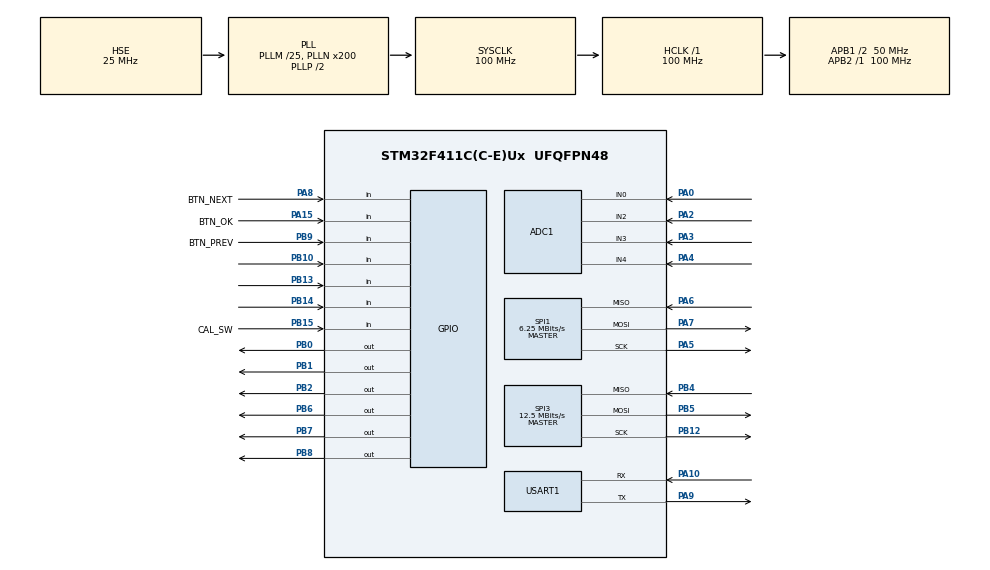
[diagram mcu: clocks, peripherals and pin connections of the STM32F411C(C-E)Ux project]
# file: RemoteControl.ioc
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ADC1.Channel-10\#ChannelRegularConversion=ADC_CHANNEL_2
ADC1.Channel-11\#ChannelRegularConversion=ADC_CHANNEL_3
ADC1.Channel-12\#ChannelRegularConversion=ADC_CHANNEL_4
ADC1.Channel-9\#ChannelRegularConversion=ADC_CHANNEL_0
ADC1.ContinuousConvMode=ENABLE
ADC1.DMAContinuousRequests=ENABLE
ADC1.NbrOfConversion=4
ADC1.NbrOfConversionFlag=1
ADC1.Rank-10\#ChannelRegularConversion=2
ADC1.Rank-11\#ChannelRegularConversion=3
ADC1.Rank-12\#ChannelRegularConversion=4
ADC1.Rank-9\#ChannelRegularConversion=1
ADC1.SamplingTime-10\#ChannelRegularConversion=ADC_SAMPLETIME_144CYCLES
ADC1.SamplingTime-11\#ChannelRegularConversion=ADC_SAMPLETIME_144CYCLES
ADC1.SamplingTime-12\#ChannelRegularConversion=ADC_SAMPLETIME_144CYCLES
ADC1.SamplingTime-9\#ChannelRegularConversion=ADC_SAMPLETIME_144CYCLES
ADC1.ScanConvMode=ENABLE
ADC1.master=1
Dma.ADC1.0.Direction=DMA_PERIPH_TO_MEMORY
Dma.ADC1.0.FIFOMode=DMA_FIFOMODE_DISABLE
Dma.ADC1.0.Instance=DMA2_Stream0
Dma.ADC1.0.MemDataAlignment=DMA_MDATAALIGN_HALFWORD
Dma.ADC1.0.MemInc=DMA_MINC_ENABLE
Dma.ADC1.0.Mode=DMA_CIRCULAR
Dma.ADC1.0.PeriphDataAlignment=DMA_PDATAALIGN_HALFWORD
Dma.ADC1.0.PeriphInc=DMA_PINC_DISABLE
Dma.ADC1.0.Priority=DMA_PRIORITY_LOW
Dma.Request0=ADC1
Dma.Request1=SPI1_RX
Dma.Request2=SPI1_TX
Dma.Request3=USART1_TX
Dma.Request4=USART1_RX
Dma.Request5=SPI3_RX
Dma.Request6=SPI3_TX
Dma.SPI1_RX.1.Direction=DMA_PERIPH_TO_MEMORY
Dma.SPI1_RX.1.FIFOMode=DMA_FIFOMODE_DISABLE
Dma.SPI1_RX.1.Instance=DMA2_Stream2
Dma.SPI1_RX.1.MemDataAlignment=DMA_MDATAALIGN_BYTE
Dma.SPI1_RX.1.MemInc=DMA_MINC_ENABLE
Dma.SPI1_RX.1.Mode=DMA_NORMAL
Dma.SPI1_RX.1.PeriphDataAlignment=DMA_PDATAALIGN_BYTE
Dma.SPI1_RX.1.PeriphInc=DMA_PINC_DISABLE
Dma.SPI1_RX.1.Priority=DMA_PRIORITY_LOW
Dma.SPI1_TX.2.Direction=DMA_MEMORY_TO_PERIPH
Dma.SPI1_TX.2.FIFOMode=DMA_FIFOMODE_DISABLE
Dma.SPI1_TX.2.Instance=DMA2_Stream3
Dma.SPI1_TX.2.MemDataAlignment=DMA_MDATAALIGN_BYTE
Dma.SPI1_TX.2.MemInc=DMA_MINC_ENABLE
Dma.SPI1_TX.2.Mode=DMA_NORMAL
Dma.SPI1_TX.2.PeriphDataAlignment=DMA_PDATAALIGN_BYTE
Dma.SPI1_TX.2.PeriphInc=DMA_PINC_DISABLE
Dma.SPI1_TX.2.Priority=DMA_PRIORITY_LOW
Dma.SPI3_RX.5.Direction=DMA_PERIPH_TO_MEMORY
Dma.SPI3_RX.5.FIFOMode=DMA_FIFOMODE_DISABLE
Dma.SPI3_RX.5.Instance=DMA1_Stream0
Dma.SPI3_RX.5.MemDataAlignment=DMA_MDATAALIGN_BYTE
Dma.SPI3_RX.5.MemInc=DMA_MINC_ENABLE
Dma.SPI3_RX.5.Mode=DMA_NORMAL
Dma.SPI3_RX.5.PeriphDataAlignment=DMA_PDATAALIGN_BYTE
Dma.SPI3_RX.5.PeriphInc=DMA_PINC_DISABLE
Dma.SPI3_RX.5.Priority=DMA_PRIORITY_LOW
Dma.SPI3_TX.6.Direction=DMA_MEMORY_TO_PERIPH
Dma.SPI3_TX.6.FIFOMode=DMA_FIFOMODE_DISABLE
Dma.SPI3_TX.6.Instance=DMA1_Stream5
Dma.SPI3_TX.6.MemDataAlignment=DMA_MDATAALIGN_BYTE
Dma.SPI3_TX.6.MemInc=DMA_MINC_ENABLE
Dma.SPI3_TX.6.Mode=DMA_NORMAL
Dma.SPI3_TX.6.PeriphDataAlignment=DMA_PDATAALIGN_BYTE
Dma.SPI3_TX.6.PeriphInc=DMA_PINC_DISABLE
Dma.SPI3_TX.6.Priority=DMA_PRIORITY_LOW
Dma.USART1_RX.4.Direction=DMA_PERIPH_TO_MEMORY
Dma.USART1_RX.4.FIFOMode=DMA_FIFOMODE_DISABLE
Dma.USART1_RX.4.Instance=DMA2_Stream5
Dma.USART1_RX.4.MemDataAlignment=DMA_MDATAALIGN_BYTE
Dma.USART1_RX.4.MemInc=DMA_MINC_ENABLE
Dma.USART1_RX.4.Mode=DMA_NORMAL
Dma.USART1_RX.4.PeriphDataAlignment=DMA_PDATAALIGN_BYTE
Dma.USART1_RX.4.PeriphInc=DMA_PINC_DISABLE
Dma.USART1_RX.4.Priority=DMA_PRIORITY_LOW
Dma.USART1_TX.3.Direction=DMA_MEMORY_TO_PERIPH
Dma.USART1_TX.3.FIFOMode=DMA_FIFOMODE_DISABLE
Dma.USART1_TX.3.Instance=DMA2_Stream7
Dma.USART1_TX.3.MemDataAlignment=DMA_MDATAALIGN_BYTE
Dma.USART1_TX.3.MemInc=DMA_MINC_ENABLE
Dma.USART1_TX.3.Mode=DMA_NORMAL
Dma.USART1_TX.3.PeriphDataAlignment=DMA_PDATAALIGN_BYTE
Dma.USART1_TX.3.PeriphInc=DMA_PINC_DISABLE
Dma.USART1_TX.3.Priority=DMA_PRIORITY_LOW
Mcu.Family=STM32F4
Mcu.Name=STM32F411C(C-E)Ux
Mcu.Package=UFQFPN48
NVIC.DMA1_Stream0_IRQn=true\:8\:0\:true\:false\:true\:true\:true\:true
NVIC.DMA1_Stream5_IRQn=true\:8\:0\:true\:false\:true\:true\:true\:true
NVIC.DMA2_Stream0_IRQn=true\:9\:0\:true\:false\:true\:true\:true\:true
NVIC.DMA2_Stream2_IRQn=true\:7\:0\:true\:false\:true\:true\:true\:true
NVIC.DMA2_Stream3_IRQn=true\:7\:0\:true\:false\:true\:true\:true\:true
NVIC.DMA2_Stream5_IRQn=true\:9\:0\:true\:false\:true\:true\:true\:true
NVIC.DMA2_Stream7_IRQn=true\:10\:0\:true\:false\:true\:true\:true\:true
NVIC.PriorityGroup=NVIC_PRIORITYGROUP_4
NVIC.SPI1_IRQn=true\:7\:0\:true\:false\:true\:true\:true\:true
NVIC.TIM5_IRQn=true\:15\:0\:false\:false\:true\:false\:true\:true
NVIC.TimeBase=TIM5_IRQn
NVIC.TimeBaseIP=TIM5
NVIC.USART1_IRQn=true\:10\:0\:true\:false\:true\:true\:true\:true
PA0-WKUP.Signal=ADCx_IN0
PA10.Mode=Asynchronous
PA10.Signal=USART1_RX
PA13.Mode=Serial_Wire
PA13.Signal=SYS_JTMS-SWDIO
PA14.Mode=Serial_Wire
PA14.Signal=SYS_JTCK-SWCLK
PA15.GPIO_Label=BTN_OK
PA15.GPIO_PuPd=GPIO_PULLUP
PA15.Signal=GPIO_Input
PA2.Signal=ADCx_IN2
PA3.Signal=ADCx_IN3
PA4.Signal=ADCx_IN4
PA5.Mode=Full_Duplex_Master
PA5.Signal=SPI1_SCK
PA6.Mode=Full_Duplex_Master
PA6.Signal=SPI1_MISO
PA7.Mode=Full_Duplex_Master
PA7.Signal=SPI1_MOSI
PA8.GPIO_Label=BTN_NEXT
PA8.GPIO_PuPd=GPIO_PULLUP
PA8.Signal=GPIO_Input
PA9.Mode=Asynchronous
PA9.Signal=USART1_TX
PB0.GPIO_PuPd=GPIO_PULLDOWN
PB0.GPIO_Speed=GPIO_SPEED_FREQ_VERY_HIGH
PB0.PinState=GPIO_PIN_RESET
PB0.Signal=GPIO_Output
PB1.GPIO_PuPd=GPIO_PULLUP
PB1.GPIO_Speed=GPIO_SPEED_FREQ_VERY_HIGH
PB1.PinState=GPIO_PIN_SET
PB1.Signal=GPIO_Output
PB10.GPIO_PuPd=GPIO_PULLUP
PB10.Signal=GPIO_Input
PB12.Mode=Full_Duplex_Master
PB12.Signal=SPI3_SCK
PB13.GPIO_PuPd=GPIO_PULLUP
PB13.Signal=GPIO_Input
PB14.GPIO_PuPd=GPIO_PULLUP
PB14.Signal=GPIO_Input
PB15.GPIO_Label=CAL_SW
PB15.GPIO_PuPd=GPIO_PULLUP
PB15.Signal=GPIO_Input
PB2.GPIO_PuPd=GPIO_PULLDOWN
PB2.GPIO_Speed=GPIO_SPEED_FREQ_VERY_HIGH
PB2.Signal=GPIO_Output
PB4.Mode=Full_Duplex_Master
PB4.Signal=SPI3_MISO
PB5.Mode=Full_Duplex_Master
PB5.Signal=SPI3_MOSI
PB6.GPIO_Speed=GPIO_SPEED_FREQ_VERY_HIGH
PB6.Signal=GPIO_Output
PB7.GPIO_Speed=GPIO_SPEED_FREQ_VERY_HIGH
PB7.Signal=GPIO_Output
PB8.GPIO_Speed=GPIO_SPEED_FREQ_VERY_HIGH
PB8.Signal=GPIO_Output
PB9.GPIO_Label=BTN_PREV
PB9.GPIO_PuPd=GPIO_PULLUP
PB9.Signal=GPIO_Input
PH0\ -\ OSC_IN.Mode=HSE-External-Oscillator
PH0\ -\ OSC_IN.Signal=RCC_OSC_IN
PH1\ -\ OSC_OUT.Mode=HSE-External-Oscillator
PH1\ -\ OSC_OUT.Signal=RCC_OSC_OUT
ProjectManager.HeapSize=0x200
ProjectManager.StackSize=0x400
ProjectManager.TargetToolchain=STM32CubeIDE
RCC.48MHZClocksFreq_Value=50000000
RCC.AHBFreq_Value=100000000
RCC.APB1CLKDivider=RCC_HCLK_DIV2
RCC.APB1Freq_Value=50000000
RCC.APB1TimFreq_Value=100000000
RCC.APB2Freq_Value=100000000
RCC.APB2TimFreq_Value=100000000
RCC.CortexFreq_Value=100000000
RCC.HCLKFreq_Value=100000000
RCC.HSE_VALUE=25000000
RCC.HSI_VALUE=16000000
RCC.LSE_VALUE=32768
RCC.PLLM=25
RCC.PLLN=200
RCC.PLLSourceVirtual=RCC_PLLSOURCE_HSE
RCC.SYSCLKFreq_VALUE=100000000
RCC.SYSCLKSource=RCC_SYSCLKSOURCE_PLLCLK
RCC.VCOOutputFreq_Value=200000000
SH.ADCx_IN0.0=ADC1_IN0,IN0
SH.ADCx_IN2.0=ADC1_IN2,IN2
SH.ADCx_IN3.0=ADC1_IN3,IN3
SH.ADCx_IN4.0=ADC1_IN4,IN4
SPI1.BaudRatePrescaler=SPI_BAUDRATEPRESCALER_16
SPI1.CalculateBaudRate=6.25 MBits/s
SPI1.Direction=SPI_DIRECTION_2LINES
SPI1.Mode=SPI_MODE_MASTER
SPI1.VirtualType=VM_MASTER
SPI3.BaudRatePrescaler=SPI_BAUDRATEPRESCALER_4
SPI3.CalculateBaudRate=12.5 MBits/s
SPI3.Direction=SPI_DIRECTION_2LINES
SPI3.Mode=SPI_MODE_MASTER
SPI3.VirtualType=VM_MASTER
USART1.VirtualMode=VM_ASYNC
VP_SYS_VS_tim5.Mode=TIM5
board=custom

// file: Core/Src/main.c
/* USER CODE BEGIN Header */
/**
  ******************************************************************************
  * @file           : main.c
  * @brief          : Main program body
  ******************************************************************************
  * @attention
  *
  * Copyright (c) 2026 STMicroelectronics.
  * All rights reserved.
  *
  * This software is licensed under terms that can be found in the LICENSE file
  * in the root directory of this software component.
  * If no LICENSE file comes with this software, it is provided AS-IS.
  *
  ******************************************************************************
  */
/* USER CODE END Header */
#include "main.h"
#include "adc.h"
#include "dma.h"
#include "spi.h"
#include "usart.h"
#include "gpio.h"

/* USER CODE BEGIN Includes */
#include "FreeRTOSConfig.h"
#include "FreeRTOS.h"
#include "task.h"
#include "app.h"
#include "rc_protocol.h"
#include "nrf24_tx.h"
#include "rc_tx_task.h"
#include "joystick.h"
#include "telemetry.h"
#include "display_task.h"
/* USER CODE END Includes */

void SystemClock_Config(void);

/* USER CODE BEGIN 0 */
void vApplicationStackOverflowHook(TaskHandle_t xTask, char *pcTaskName){
    while(1){
        // debug stack overflow
    }
}

void HAL_SPI_TxRxCpltCallback(SPI_HandleTypeDef *hspi){
	if(hspi == &hspi1){
        NRF24_DMA_Callback(hspi);
        return;
    }
}

void HAL_ADC_ConvCpltCallback(ADC_HandleTypeDef *hadc){
	if(hadc == &hadc1){
		JOY_DMA_Callback(hadc);
	}
}
/* USER CODE END 0 */

int main(void)
{

  /* MCU Configuration--------------------------------------------------------*/

  /* Reset of all peripherals, Initializes the Flash interface and the Systick. */
  HAL_Init();

  /* Configure the system clock */
  SystemClock_Config();

  /* Initialize all configured peripherals */
  MX_GPIO_Init();
  MX_DMA_Init();
  MX_ADC1_Init();
  MX_SPI1_Init();
  MX_USART1_UART_Init();
  MX_SPI3_Init();
  /* USER CODE BEGIN 2 */
  BaseType_t ret;

  ret = xTaskCreate(RCTxTask, "RCTX", STACK_RCTX, NULL, TASK_PRIO_RCTX, NULL);
  configASSERT(ret == pdPASS);
  ret = xTaskCreate(TelemetryPrintTask, "TLM", STACK_TLM, NULL, TASK_PRIO_TLM, NULL);
  configASSERT(ret == pdPASS);
  ret = xTaskCreate(DisplayTask, "DISP", STACK_DISP, NULL, TASK_PRIO_DISP, NULL);
  configASSERT(ret == pdPASS);
  vTaskStartScheduler();
  /* USER CODE END 2 */

  /* Infinite loop */
  while (1)
  {

  }
}

void SystemClock_Config(void)
{
  RCC_OscInitTypeDef RCC_OscInitStruct = {0};
  RCC_ClkInitTypeDef RCC_ClkInitStruct = {0};

  /** Configure the main internal regulator output voltage
  */
  __HAL_RCC_PWR_CLK_ENABLE();
  __HAL_PWR_VOLTAGESCALING_CONFIG(PWR_REGULATOR_VOLTAGE_SCALE1);

  /** Initializes the RCC Oscillators according to the specified parameters
  * in the RCC_OscInitTypeDef structure.
  */
  RCC_OscInitStruct.OscillatorType = RCC_OSCILLATORTYPE_HSE;
  RCC_OscInitStruct.HSEState = RCC_HSE_ON;
  RCC_OscInitStruct.PLL.PLLState = RCC_PLL_ON;
  RCC_OscInitStruct.PLL.PLLSource = RCC_PLLSOURCE_HSE;
  RCC_OscInitStruct.PLL.PLLM = 25;
  RCC_OscInitStruct.PLL.PLLN = 200;
  RCC_OscInitStruct.PLL.PLLP = RCC_PLLP_DIV2;
  RCC_OscInitStruct.PLL.PLLQ = 4;
  if (HAL_RCC_OscConfig(&RCC_OscInitStruct) != HAL_OK)
  {
    Error_Handler();
  }

  /** Initializes the CPU, AHB and APB buses clocks
  */
  RCC_ClkInitStruct.ClockType = RCC_CLOCKTYPE_HCLK|RCC_CLOCKTYPE_SYSCLK
                              |RCC_CLOCKTYPE_PCLK1|RCC_CLOCKTYPE_PCLK2;
  RCC_ClkInitStruct.SYSCLKSource = RCC_SYSCLKSOURCE_PLLCLK;
  RCC_ClkInitStruct.AHBCLKDivider = RCC_SYSCLK_DIV1;
  RCC_ClkInitStruct.APB1CLKDivider = RCC_HCLK_DIV2;
  RCC_ClkInitStruct.APB2CLKDivider = RCC_HCLK_DIV1;

  if (HAL_RCC_ClockConfig(&RCC_ClkInitStruct, FLASH_LATENCY_3) != HAL_OK)
  {
    Error_Handler();
  }
}

void HAL_TIM_PeriodElapsedCallback(TIM_HandleTypeDef *htim)
{
  if (htim->Instance == TIM5)
  {
    HAL_IncTick();
  }
}

void Error_Handler(void)
{
  __disable_irq();
  while (1)
  {
  }
}
